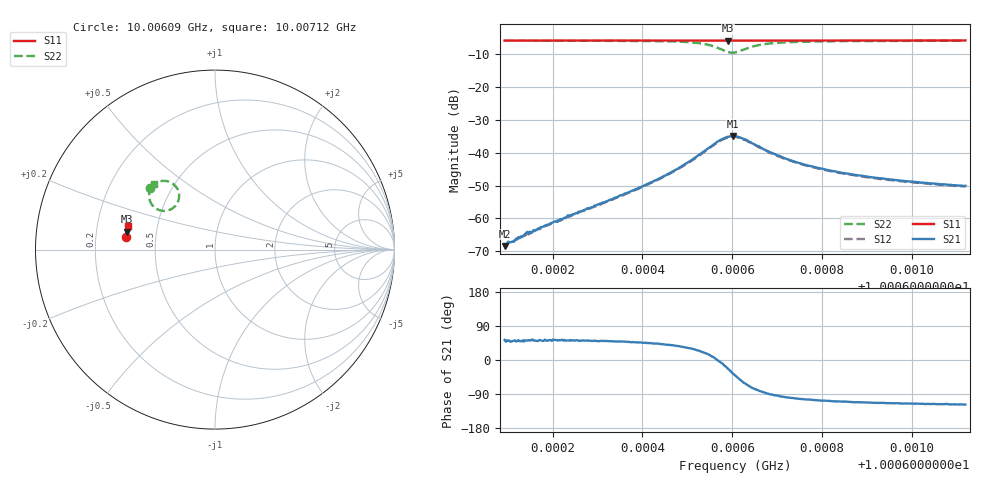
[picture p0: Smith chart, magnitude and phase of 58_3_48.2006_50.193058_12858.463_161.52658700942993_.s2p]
#  HZ  S  RI  R  50.00
! Rohde & Schwarz Vector Network Analyzer
! Rohde-Schwarz,ZNB20-2Port,1311601062101988,3.16
! Created: UTC 3/20/2024, 11:38:40 AM
! freq[Hz]  re:S11  im:S11  re:S21  im:S21  re:S12  im:S12  re:S22  im:S22
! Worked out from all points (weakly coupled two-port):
!   401 points, 10.00609 GHz to 10.00712 GHz, reference 50 ohm
!   highest |S21| = -34.93 dB at 10.0066 GHz (marker M1); lowest = -68.3 dB at 10.00609 GHz (marker M2)
!   lowest |S11| = -6.0 dB at 10.00659 GHz (marker M3), VSWR 3.01, Z = 16.8 + j4.48 ohm
!   |S11| at or under -10 dB: nowhere
!   |S22| runs from -9.7 to -6.0 dB; largest |S21 - S12| = 0.0012
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1.0006093e10  -0.497 0.0683  0.000231 0.000307  0.000246 0.000301  -0.3615 0.344
1.0006106e10  -0.497 0.0693  0.000291 0.000327  0.000272 0.000347  -0.3606 0.345
1.0006111e10  -0.4968 0.0695  0.00029 0.000343  0.000267 0.000373  -0.3601 0.3454
1.0006144e10  -0.4965 0.0719  0.000391 0.000489  0.000354 0.000476  -0.3577 0.348
1.0006157e10  -0.4965 0.0726  0.000416 0.000519  0.000371 0.000512  -0.3569 0.3488
1.0006198e10  -0.4963 0.0751  0.000548 0.000661  0.000478 0.000692  -0.3535 0.3522
1.0006265e10  -0.4956 0.0798  0.000817 0.00101  0.000763 0.00104  -0.3472 0.3579
1.0006352e10  -0.4948 0.0855  0.00148 0.00168  0.00133 0.00169  -0.3356 0.3668
1.0006437e10  -0.494 0.0908  0.00296 0.00272  0.00278 0.00281  -0.3154 0.3773
1.0006496e10  -0.4931 0.0949  0.00562 0.00367  0.00535 0.00383  -0.2856 0.3829
1.0006539e10  -0.492 0.0977  0.0102 0.0034  0.00968 0.00378  -0.2417 0.3717
1.000657e10  -0.4913 0.0994  0.015 -0.000827  0.0147 9.39e-05  -0.2037 0.3242
1.0006591e10  -0.4908 0.1001  0.0159 -0.00681  0.016 -0.00594  -0.2074 0.2645
1.0006601e10  -0.4907 0.1004  0.0147 -0.0103  0.0146 -0.00921  -0.2271 0.2373
1.0006606e10  -0.4907 0.1006  0.0134 -0.0116  0.0138 -0.0105  -0.2405 0.2272
1.0006626e10  -0.491 0.1014  0.00779 -0.014  0.00832 -0.0132  -0.2979 0.2168
1.0006662e10  -0.4913 0.1039  0.00159 -0.0118  0.00217 -0.0116  -0.3524 0.2518
1.0006719e10  -0.491 0.1076  -0.00114 -0.00803  -0.000739 -0.00793  -0.3671 0.2973
1.0006778e10  -0.4903 0.1117  -0.00162 -0.00595  -0.00129 -0.00589  -0.3642 0.3213
1.0006847e10  -0.4895 0.1162  -0.00167 -0.0046  -0.00143 -0.0046  -0.3584 0.3371
1.000695e10  -0.4881 0.1227  -0.00159 -0.00357  -0.00141 -0.00358  -0.3505 0.3513
1.0007119e10  -0.4857 0.1334  -0.00145 -0.00278  -0.00127 -0.00279  -0.3393 0.3662
